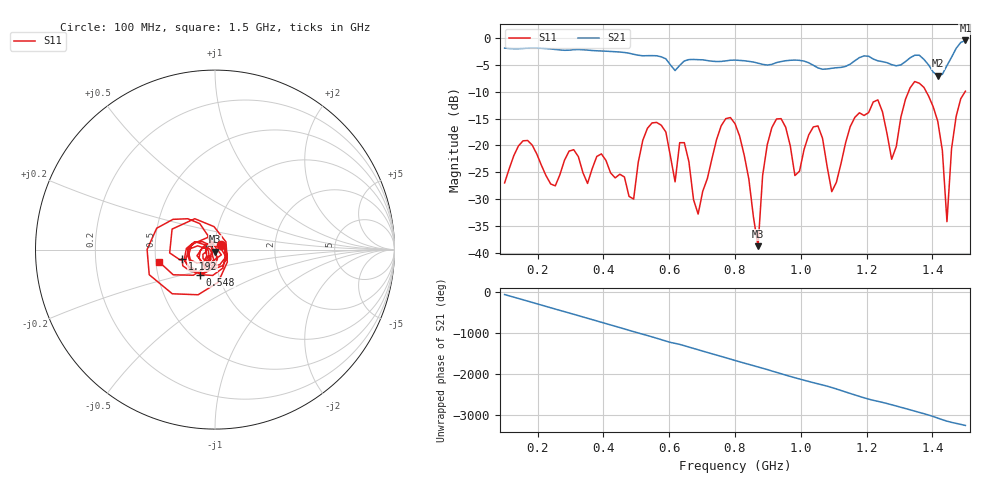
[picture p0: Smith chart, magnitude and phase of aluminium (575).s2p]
! NanoVNA-App
! Date: 2025-09-25 14:59:45
! Start: 100MHz Stop: 1,5GHz Points: 101
! S-Parameter data: F S11 S21 S12 S22
# Hz S RI R 50
!  Frequency  S11_Real  S11_Imag  S21_Real  S21_Imag  S12_Real  S12_Imag  S22_Real  S22_Imag
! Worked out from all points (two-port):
!   101 points, 100 MHz to 1.5 GHz, reference 50 ohm
!   highest |S21| = -0.50 dB at 1.5 GHz (marker M1); lowest = -7.1 dB at 1.416 GHz (marker M2)
!   |S21| within 3 dB of the highest: start of sweep to 572.9 MHz; 1.459 GHz to end of sweep (the widest 2 of 4)
!   lowest |S11| = -38.7 dB at 870 MHz (marker M3), VSWR 1.02, Z = 50.1 - j1.15 ohm
!   |S11| at or under -10 dB: start of sweep to 1.327 GHz; 1.381 GHz to 1.499 GHz (118.4 MHz wide, 8.22 % of centre)
!   S12 and S22 are empty: the file has one direction only
!   S11 on the Smith chart (normalised r, x): 100 MHz: 1.07, +0.06; 548 MHz: 0.82, -0.23; 1.192 GHz: 0.69, -0.07; 1.5 GHz: 0.52, -0.08
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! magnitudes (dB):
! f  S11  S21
! 100 MHz  -27.0  -1.9
! 156 MHz  -19.1  -2.0
! 338 MHz  -25.1  -2.2
! 492 MHz  -30.0  -3.1
! 548 MHz  -15.8  -3.3
! 576 MHz  -16.2  -3.5
! 618 MHz  -26.8  -6.1
! 646 MHz  -19.5  -4.3
! 688 MHz  -32.7  -4.1
! 800 MHz  -15.9  -4.1
! 870 MHz  -38.7  -4.7
! 912 MHz  -16.7  -4.9
! 982 MHz  -25.6  -4.1
! 1.038 GHz  -16.6  -5.1
! 1.094 GHz  -28.6  -5.7
! 1.192 GHz  -14.4  -3.4
! 1.276 GHz  -22.6  -5.0
! 1.346 GHz  -8.1  -3.3
! 1.416 GHz  -15.5  -7.1
! 1.444 GHz  -34.2  -5.2
! 1.458 GHz  -20.6  -3.6
! 1.5 GHz  -9.9  -0.5
